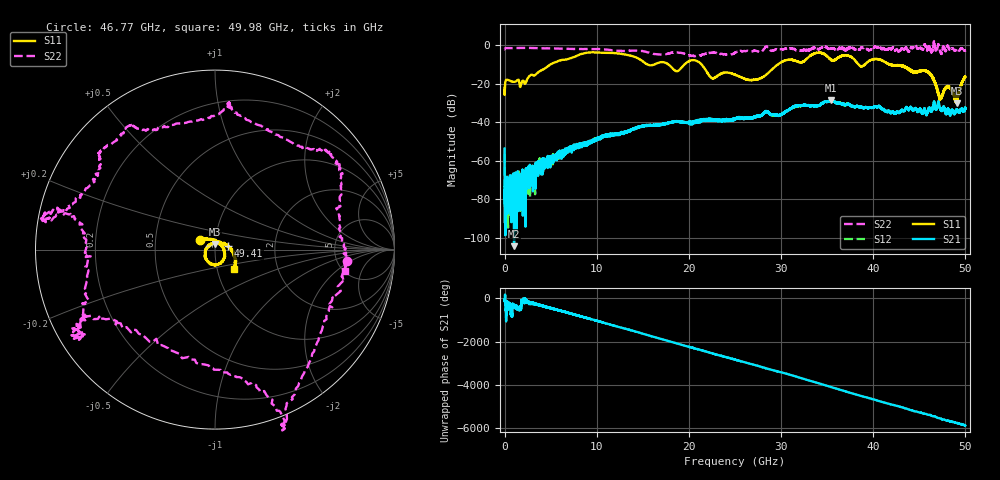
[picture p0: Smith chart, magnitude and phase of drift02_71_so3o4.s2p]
!Created with skrf (http://scikit-rf.org).
# Hz S RI R 50.0
!freq ReS11 ImS11 ReS21 ImS21 ReS12 ImS12 ReS22 ImS22
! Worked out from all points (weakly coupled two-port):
!   10001 points, 300 kHz to 50 GHz, reference 50 ohm
!   highest |S21| = -28.48 dB at 35.38 GHz (marker M1); lowest = -104.3 dB at 1.025 GHz (marker M2)
!   lowest |S11| = -30.0 dB at 49.08 GHz (marker M3), VSWR 1.07, Z = 49.9 + j3.15 ohm
!   |S11| at or under -10 dB: start of sweep to 4.95 GHz; 21.38 GHz to 29.63 GHz (8.247 GHz wide, 32.3 % of centre); 41.86 GHz to end of sweep (the widest 3 of 9)
!   |S22| runs from -5.7 to 2.5 dB; largest |S21 - S12| = 0.0038
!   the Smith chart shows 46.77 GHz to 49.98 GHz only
!   S11 on the Smith chart (normalised r, x): 46.77 GHz: 0.84, +0.09; 49.41 GHz: 1.15, +0.04; 49.98 GHz: 1.20, -0.27
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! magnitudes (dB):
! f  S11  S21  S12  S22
! 300 kHz  -22.1  -53.6  -56.6  -2.1
! 265.3 MHz  -17.9  -79.2  -78.5  -1.4
! 1.025 GHz  -19.0  -104.3  -75.5  -1.5
! 8.335 GHz  -4.5  -51.4  -51.9  -1.9
! 16.67 GHz  -9.1  -41.3  -41.5  -4.7
! 18.7 GHz  -13.5  -39.6  -39.5  -3.7
! 20.6 GHz  -7.7  -40.1  -40.1  -5.7
! 22.52 GHz  -17.1  -38.4  -38.8  -3.7
! 25 GHz  -15.3  -38.4  -38.2  -3.9
! 27.5 GHz  -17.6  -36.5  -36.5  -3.2
! 30.22 GHz  -8.3  -35.5  -35.1  -2.1
! 33.34 GHz  -4.9  -31.3  -31.4  -1.6
! 35.38 GHz  -7.4  -28.5  -28.7  -1.5
! 41.67 GHz  -9.7  -34.0  -34.2  -1.8
! 45.79 GHz  -13.5  -35.6  -35.6  -2.3
! 46.77 GHz  -20.1  -33.0  -33.0  -2.6
! 47.28 GHz  -27.4  -33.2  -33.1  -3.3
! 48.12 GHz  -21.4  -33.2  -33.0  -0.5
! 49.08 GHz  -30.0  -34.3  -33.9  -1.8
! 49.41 GHz  -22.6  -33.9  -34.2  -2.4
! 49.98 GHz  -16.4  -32.9  -32.7  -2.7
! 50 GHz  -16.3  -32.8  -32.6  -2.8
